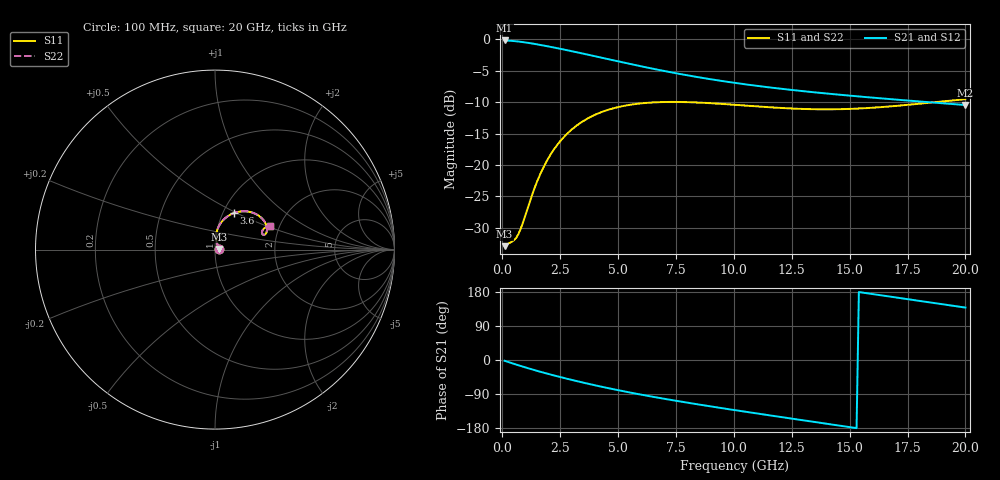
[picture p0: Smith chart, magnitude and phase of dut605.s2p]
! Touchstone file exported from HFSS 2024.1.0
!  File:  C:/UserFiles/LocalFiles/RDL_TSV_Batchsim/temp_RDL_TSV_605_1779797899.aedt
!  Generated:  08:34:27 PM May 26, 2026
!  Design:  RDL_TSV
!  Project:  temp_RDL_TSV_605_1779797899
!  Setup:  Setup1
!  Solution:  Sweep
! Variables:
!  dtsv = 14.2um
!  hbump = 3um
!  htsv = 51.09um
!  ldown = 440.64um
!  lrdl = 524.78um
!  p = 40
!  p1 = 57.8um
!  rhole = 10um
!  subl = 3421.04um
!  t = 450um
!  tdown = 2.59um
!  trdl = 3.74um
!  viad = 10um
!  wdown = 11.44um
!  wrdl = 29.52um
!  xbump = 18um
# GHz S MA R 50.000000
! Terminal data exported
! Port[1] = TM1_1_T1
! Port[2] = TM1_4_T1
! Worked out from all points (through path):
!   200 points, 100 MHz to 20 GHz, reference 50 ohm
!   highest |S21| = -0.20 dB at 100 MHz (marker M1); lowest = -10.5 dB at 20 GHz (marker M2)
!   group delay of S21, straight-line fit = 28.7 ps
!   lowest |S11| = -32.9 dB at 100 MHz (marker M3), VSWR 1.05, Z = 52.3 + j0.361 ohm
!   |S11| at or under -10 dB: start of sweep to 6.873 GHz; 7.908 GHz to 18.72 GHz (10.82 GHz wide, 81.2 % of centre)
!   |S22| runs from -32.9 to -9.5 dB; largest |S21 - S12| = 1.7e-14
!   S11 on the Smith chart (normalised r, x): 100 MHz: 1.05, +0.01; 3.6 GHz: 1.13, +0.48; 20 GHz: 1.78, +0.53
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0.1  0.02261 8.8  0.9771 -2.1  0.9771 -2.1  0.02261 8.8
! Gamma 0 0 0 0
! Port Impedance 50 0 50 0
0.5  0.02512 38.1  0.9664 -10.1  0.9664 -10.1  0.02512 38.1
0.7  0.0283 55.1  0.9579 -14.0  0.9579 -14.0  0.02829 55.1
0.9  0.03517 69.6  0.9477 -17.8  0.9477 -17.8  0.03517 69.6
1.3  0.05871 83.6  0.9236 -25.1  0.9236 -25.1  0.0587 83.6
1.5  0.07352 85.3  0.9103 -28.6  0.9103 -28.6  0.0735 85.3
1.8  0.09749 84.7  0.8895 -33.7  0.8895 -33.7  0.09747 84.7
2.1  0.1222 82.1  0.868 -38.7  0.868 -38.7  0.1222 82.1
2.7  0.1697 74.6  0.8246 -48.1  0.8246 -48.1  0.1697 74.7
3.5  0.2236 63.9  0.7672 -59.8  0.7672 -59.8  0.2236 63.9
3.6  0.2294 62.6  0.7601 -61.2  0.7601 -61.2  0.2294 62.6
4.3  0.2639 54.0  0.712 -70.7  0.712 -70.7  0.2638 54.1
5.2  0.2937 44.4  0.6545 -82.1  0.6545 -82.1  0.2937 44.5
6  0.3089 37.3  0.6085 -91.5  0.6085 -91.5  0.3089 37.4
6.8  0.3159 31.4  0.5677 -100.3  0.5677 -100.3  0.316 31.5
8.3  0.3145 23.3  0.5045 -115.7  0.5045 -115.7  0.3148 23.4
10.1  0.3004 18.0  0.4478 -132.8  0.4478 -132.8  0.3009 18.1
11.7  0.2864 16.7  0.4103 -147.5  0.4103 -147.5  0.2871 16.8
13.4  0.2775 18.0  0.3794 -162.8  0.3794 -162.8  0.2785 18.1
15  0.279 20.5  0.3557 -177.1  0.3557 -177.1  0.2801 20.5
16.7  0.2916 22.9  0.3344 167.6  0.3344 167.6  0.2927 22.9
20  0.3334 23.2  0.2997 138.3  0.2997 138.3  0.3344 23.1
